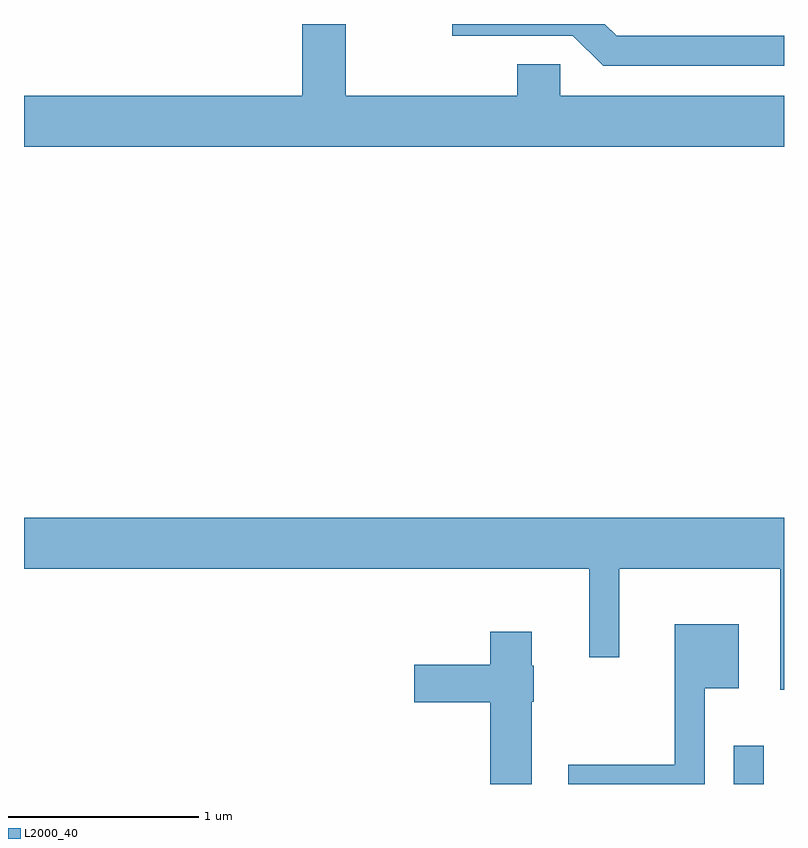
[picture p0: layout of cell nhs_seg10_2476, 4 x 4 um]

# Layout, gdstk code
import gdstk
lib = gdstk.Library(unit=1e-6, precision=1e-09)
def R(c, l, rs):  # rectangles x0, y0, x1, y1
    for r in rs: c.add(gdstk.rectangle(r[:2], r[2:], *l))
def P(c, l, *ps):  # polygons
    for p in ps: c.add(gdstk.Polygon(p, *l))
L2000_40 = (2000, 40)

nhs_seg10_2476 = lib.new_cell('nhs_seg10_2476')
R(nhs_seg10_2476, L2000_40, [(261.346,2150.522,261.504,2150.723)])
P(nhs_seg10_2476, L2000_40, [(261.611,2154.144),(260.434,2154.144),(260.434,2154.309),(260.206,2154.309),(260.206,2154.144),(259.304,2154.144),(259.304,2154.522),(259.076,2154.522),(259.076,2154.144),(257.611,2154.144),(257.611,2153.876),(261.611,2153.876)],
  [(261.611,2154.459),(260.731,2154.459),(260.668,2154.522),(259.866,2154.522),(259.866,2154.461),(260.498,2154.461),(260.659,2154.301),(261.611,2154.301)],
  [(261.611,2151.924),(257.611,2151.924),(257.611,2151.656),(260.586,2151.656),(260.586,2151.188),(260.744,2151.188),(260.744,2151.656),(261.591,2151.656),(261.591,2151.018),(261.611,2151.018)],
  [(261.194,2151.026),(261.374,2151.026),(261.374,2151.364),(261.036,2151.364),(261.036,2150.624),(260.476,2150.624),(260.476,2150.522),(261.194,2150.522)],
  [(260.284,2150.955),(260.294,2150.955),(260.294,2151.145),(260.284,2151.145),(260.284,2151.324),(260.066,2151.324),(260.066,2151.149),(259.666,2151.149),(259.666,2150.951),(260.066,2150.951),(260.066,2150.522),(260.284,2150.522)])

lib.write_gds('nhs_seg10_2476.gds')
